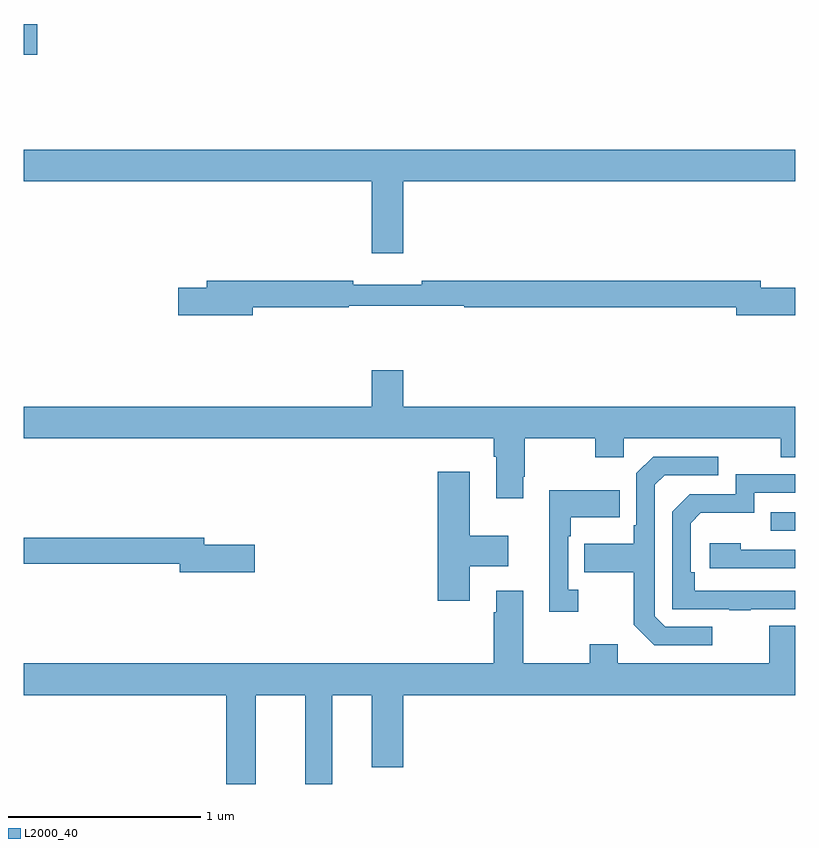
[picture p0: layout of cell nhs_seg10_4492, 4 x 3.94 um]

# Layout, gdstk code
import gdstk
lib = gdstk.Library(unit=1e-6, precision=1e-09)
def R(c, l, rs):  # rectangles x0, y0, x1, y1
    for r in rs: c.add(gdstk.rectangle(r[:2], r[2:], *l))
def P(c, l, *ps):  # polygons
    for p in ps: c.add(gdstk.Polygon(p, *l))
L2000_40 = (2000, 40)

nhs_seg10_4492 = lib.new_cell('nhs_seg10_4492')
R(nhs_seg10_4492, L2000_40, [(370.873,1263.873,371,1263.969), (367,1266.341,367.069,1266.5)])
P(nhs_seg10_4492, L2000_40, [(368.968,1265.684),(371,1265.684),(371,1265.848),(367,1265.848),(367,1265.684),(368.804,1265.684),(368.804,1265.31),(368.968,1265.31)],
  [(368.188,1265.032),(368.684,1265.032),(368.684,1265.04),(369.284,1265.04),(369.284,1265.032),(370.694,1265.032),(370.694,1264.99),(371,1264.99),(371,1265.132),(370.822,1265.132),(370.822,1265.168),(369.064,1265.168),(369.064,1265.149),(368.708,1265.149),(368.708,1265.168),(367.949,1265.168),(367.949,1265.132),(367.8,1265.132),(367.8,1264.99),(368.188,1264.99)],
  [(369.589,1264.153),(369.597,1264.153),(369.597,1264.352),(369.964,1264.352),(369.964,1264.253),(370.11,1264.253),(370.11,1264.352),(370.924,1264.352),(370.924,1264.253),(371,1264.253),(371,1264.516),(368.968,1264.516),(368.968,1264.705),(368.804,1264.705),(368.804,1264.516),(367,1264.516),(367,1264.352),(369.437,1264.352),(369.437,1264.256),(369.449,1264.256),(369.449,1264.041),(369.589,1264.041)],
  [(370.57,1263.375),(370.326,1263.375),(370.272,1263.429),(370.272,1264.11),(370.323,1264.161),(370.6,1264.161),(370.6,1264.257),(370.263,1264.257),(370.176,1264.17),(370.176,1263.901),(370.164,1263.901),(370.164,1263.805),(369.907,1263.805),(369.907,1263.658),(370.164,1263.658),(370.164,1263.385),(370.269,1263.279),(370.57,1263.279)],
  [(369.313,1263.689),(369.511,1263.689),(369.511,1263.847),(369.313,1263.847),(369.313,1264.177),(369.146,1264.177),(369.146,1263.51),(369.313,1263.51)],
  [(370.769,1263.465),(371,1263.465),(371,1263.561),(370.478,1263.561),(370.478,1263.658),(370.458,1263.658),(370.458,1263.912),(370.511,1263.965),(370.788,1263.965),(370.788,1264.068),(371,1264.068),(371,1264.164),(370.692,1264.164),(370.692,1264.062),(370.452,1264.062),(370.362,1263.972),(370.362,1263.465),(370.657,1263.465),(370.657,1263.46),(370.769,1263.46)],
  [(369.874,1263.566),(369.822,1263.566),(369.822,1263.845),(369.835,1263.845),(369.835,1263.941),(370.091,1263.941),(370.091,1264.081),(369.725,1264.081),(369.725,1263.453),(369.874,1263.453)],
  [(368.197,1263.8),(367.936,1263.8),(367.936,1263.836),(367,1263.836),(367,1263.7),(367.808,1263.7),(367.808,1263.658),(368.197,1263.658)],
  [(371,1263.774),(370.718,1263.774),(370.718,1263.808),(370.557,1263.808),(370.557,1263.678),(371,1263.678)],
  [(368.203,1263.02),(368.459,1263.02),(368.459,1262.559),(368.599,1262.559),(368.599,1263.02),(368.804,1263.02),(368.804,1262.646),(368.968,1262.646),(368.968,1263.02),(371,1263.02),(371,1263.379),(370.865,1263.379),(370.865,1263.184),(370.081,1263.184),(370.081,1263.283),(369.934,1263.283),(369.934,1263.184),(369.589,1263.184),(369.589,1263.562),(369.449,1263.562),(369.449,1263.449),(369.437,1263.449),(369.437,1263.184),(367,1263.184),(367,1263.02),(368.051,1263.02),(368.051,1262.559),(368.203,1262.559)])

lib.write_gds('nhs_seg10_4492.gds')
